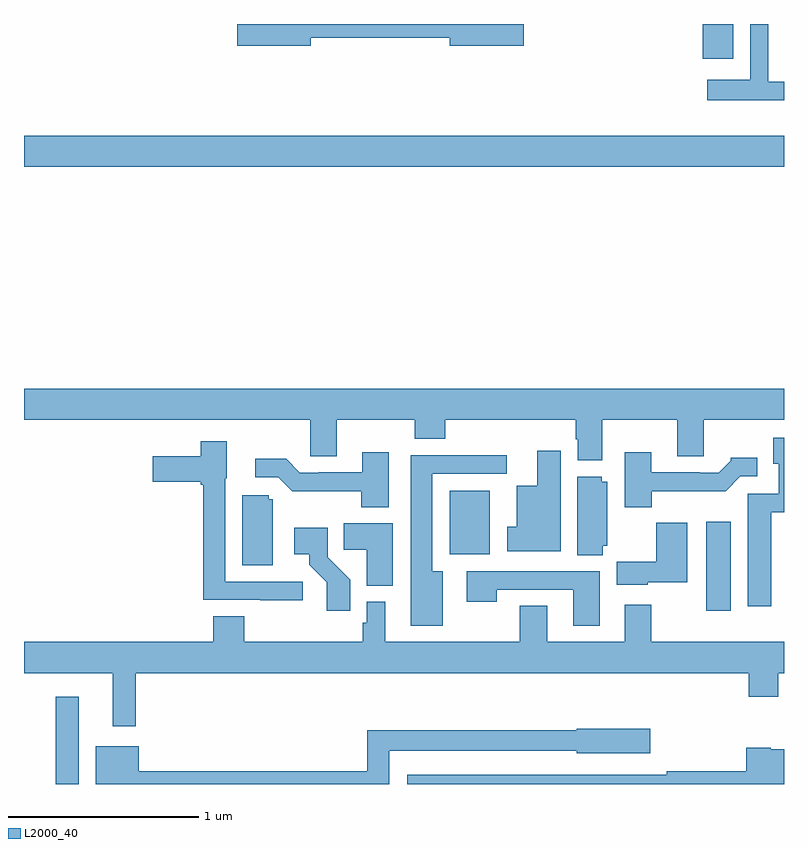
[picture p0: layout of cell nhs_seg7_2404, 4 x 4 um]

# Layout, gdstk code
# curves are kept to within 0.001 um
import gdstk
lib = gdstk.Library(unit=1e-6, precision=1e-09)
def R(c, l, rs):  # rectangles x0, y0, x1, y1
    for r in rs: c.add(gdstk.rectangle(r[:2], r[2:], *l))
def P(c, l, *ps):  # polygons
    for p in ps: c.add(gdstk.Polygon(p, *l))
L2000_40 = (2000, 40)

nhs_seg7_2404 = lib.new_cell('nhs_seg7_2404')
R(nhs_seg7_2404, L2000_40, [(267.168,1032,267.289,1032.46), (270.59,1032.912,270.721,1033.381), (269.24,1033.208,269.452,1033.543), (267,1035.248,271,1035.412), (270.572,1035.816,270.733,1036)])
P(nhs_seg7_2404, L2000_40, [(271,1035.696),(270.918,1035.696),(270.918,1036),(270.822,1036),(270.822,1035.706),(270.597,1035.706),(270.597,1035.599),(271,1035.599)],
  [(268.51,1035.928),(269.24,1035.928),(269.24,1035.886),(269.629,1035.886),(269.629,1036),(268.122,1036),(268.122,1035.886),(268.51,1035.886)],
  [(270.043,1033.916),(270.437,1033.916),(270.437,1033.726),(270.577,1033.726),(270.577,1033.916),(271,1033.916),(271,1034.08),(267,1034.08),(267,1033.916),(268.506,1033.916),(268.506,1033.726),(268.645,1033.726),(268.645,1033.916),(269.056,1033.916),(269.056,1033.817),(269.216,1033.817),(269.216,1033.916),(269.903,1033.916),(269.903,1033.815),(269.915,1033.815),(269.915,1033.703),(270.043,1033.703)],
  [(270.934,1033.43),(271,1033.43),(271,1033.822),(270.944,1033.822),(270.944,1033.686),(270.972,1033.686),(270.972,1033.527),(270.809,1033.527),(270.809,1032.936),(270.934,1032.936)],
  [(268.468,1033.065),(268.059,1033.065),(268.059,1033.608),(268.066,1033.608),(268.066,1033.804),(267.93,1033.804),(267.93,1033.726),(267.678,1033.726),(267.678,1033.592),(267.93,1033.592),(267.93,1033.574),(267.943,1033.574),(267.943,1032.969),(268.243,1032.969),(268.243,1032.967),(268.468,1032.967)],
  [(269.824,1033.753),(269.702,1033.753),(269.702,1033.57),(269.594,1033.57),(269.594,1033.354),(269.543,1033.354),(269.543,1033.226),(269.824,1033.226)],
  [(268.921,1033.747),(268.781,1033.747),(268.781,1033.641),(268.552,1033.641),(268.552,1033.638),(268.452,1033.638),(268.379,1033.711),(268.218,1033.711),(268.218,1033.614),(268.338,1033.614),(268.411,1033.541),(268.774,1033.542),(268.774,1033.457),(268.921,1033.457)],
  [(270.304,1033.542),(270.693,1033.542),(270.771,1033.62),(270.859,1033.62),(270.859,1033.717),(270.72,1033.717),(270.72,1033.702),(270.656,1033.638),(270.557,1033.638),(270.557,1033.641),(270.301,1033.641),(270.301,1033.747),(270.161,1033.747),(270.161,1033.457),(270.304,1033.457)],
  [(269.203,1033.12),(269.149,1033.12),(269.149,1033.632),(269.542,1033.632),(269.542,1033.73),(269.036,1033.73),(269.036,1032.834),(269.203,1032.834)],
  [(270.046,1033.254),(270.07,1033.254),(270.07,1033.59),(270.042,1033.59),(270.042,1033.618),(269.912,1033.618),(269.912,1033.204),(270.046,1033.204)],
  [(268.309,1033.5),(268.287,1033.5),(268.287,1033.521),(268.148,1033.521),(268.148,1033.152),(268.309,1033.152)],
  [(270.282,1033.061),(270.49,1033.061),(270.49,1033.375),(270.328,1033.375),(270.328,1033.171),(270.12,1033.171),(270.12,1033.049),(270.282,1033.049)],
  [(268.942,1033.372),(268.684,1033.372),(268.684,1033.234),(268.805,1033.234),(268.805,1033.043),(268.942,1033.043)],
  [(268.718,1033.074),(268.599,1033.193),(268.599,1033.348),(268.422,1033.348),(268.422,1033.208),(268.502,1033.208),(268.502,1033.153),(268.593,1033.063),(268.593,1032.912),(268.718,1032.912)],
  [(270.031,1033.119),(269.331,1033.119),(269.331,1032.96),(269.487,1032.96),(269.487,1033.023),(269.891,1033.023),(269.891,1032.834),(270.031,1032.834)],
  [(270.815,1032.46),(270.971,1032.46),(270.971,1032.584),(271,1032.584),(271,1032.748),(270.301,1032.748),(270.301,1032.943),(270.161,1032.943),(270.161,1032.748),(269.755,1032.748),(269.755,1032.938),(269.608,1032.938),(269.608,1032.748),(268.9,1032.748),(268.9,1032.958),(268.803,1032.958),(268.803,1032.849),(268.783,1032.849),(268.783,1032.748),(268.16,1032.748),(268.16,1032.884),(267.995,1032.884),(267.995,1032.748),(267,1032.748),(267,1032.584),(267.467,1032.584),(267.467,1032.303),(267.589,1032.303),(267.589,1032.584),(270.815,1032.584)],
  [(268.923,1032.174),(269.91,1032.174),(269.91,1032.161),(270.295,1032.161),(270.295,1032.291),(269.91,1032.291),(269.91,1032.283),(268.807,1032.283),(268.807,1032.068),(267.604,1032.068),(267.604,1032.199),(267.377,1032.199),(267.377,1032),(268.923,1032)],
  [(271,1032.184),(270.93,1032.184),(270.93,1032.19),(270.801,1032.19),(270.801,1032.068),(270.382,1032.068),(270.382,1032.048),(269.018,1032.048),(269.018,1032),(271,1032)])

lib.write_gds('nhs_seg7_2404.gds')
